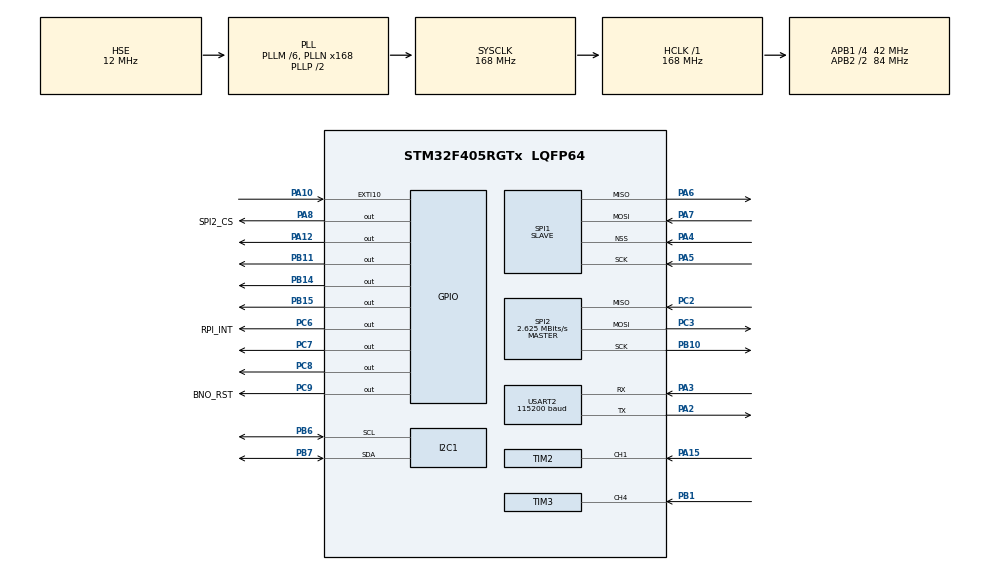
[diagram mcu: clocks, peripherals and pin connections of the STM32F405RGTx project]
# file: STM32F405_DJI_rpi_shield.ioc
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Dma.Request0=SPI1_RX
Dma.Request1=SPI1_TX
Dma.Request2=USART2_RX
Dma.SPI1_RX.0.Direction=DMA_PERIPH_TO_MEMORY
Dma.SPI1_RX.0.FIFOMode=DMA_FIFOMODE_DISABLE
Dma.SPI1_RX.0.Instance=DMA2_Stream0
Dma.SPI1_RX.0.MemDataAlignment=DMA_MDATAALIGN_BYTE
Dma.SPI1_RX.0.MemInc=DMA_MINC_ENABLE
Dma.SPI1_RX.0.Mode=DMA_NORMAL
Dma.SPI1_RX.0.PeriphDataAlignment=DMA_PDATAALIGN_BYTE
Dma.SPI1_RX.0.PeriphInc=DMA_PINC_DISABLE
Dma.SPI1_RX.0.Priority=DMA_PRIORITY_LOW
Dma.SPI1_TX.1.Direction=DMA_MEMORY_TO_PERIPH
Dma.SPI1_TX.1.FIFOMode=DMA_FIFOMODE_DISABLE
Dma.SPI1_TX.1.Instance=DMA2_Stream3
Dma.SPI1_TX.1.MemDataAlignment=DMA_MDATAALIGN_BYTE
Dma.SPI1_TX.1.MemInc=DMA_MINC_ENABLE
Dma.SPI1_TX.1.Mode=DMA_NORMAL
Dma.SPI1_TX.1.PeriphDataAlignment=DMA_PDATAALIGN_BYTE
Dma.SPI1_TX.1.PeriphInc=DMA_PINC_DISABLE
Dma.SPI1_TX.1.Priority=DMA_PRIORITY_LOW
Dma.USART2_RX.2.Direction=DMA_PERIPH_TO_MEMORY
Dma.USART2_RX.2.FIFOMode=DMA_FIFOMODE_DISABLE
Dma.USART2_RX.2.Instance=DMA1_Stream5
Dma.USART2_RX.2.MemDataAlignment=DMA_MDATAALIGN_BYTE
Dma.USART2_RX.2.MemInc=DMA_MINC_ENABLE
Dma.USART2_RX.2.Mode=DMA_CIRCULAR
Dma.USART2_RX.2.PeriphDataAlignment=DMA_PDATAALIGN_BYTE
Dma.USART2_RX.2.PeriphInc=DMA_PINC_DISABLE
Dma.USART2_RX.2.Priority=DMA_PRIORITY_LOW
Mcu.Family=STM32F4
Mcu.Name=STM32F405RGTx
Mcu.Package=LQFP64
NVIC.DMA1_Stream5_IRQn=true\:0\:0\:false\:false\:true\:false\:true
NVIC.DMA2_Stream0_IRQn=true\:0\:0\:false\:false\:true\:false\:true
NVIC.DMA2_Stream3_IRQn=true\:0\:0\:false\:false\:true\:false\:true
NVIC.EXTI15_10_IRQn=true\:0\:0\:false\:false\:true\:true\:true
NVIC.PriorityGroup=NVIC_PRIORITYGROUP_4
NVIC.SPI1_IRQn=true\:0\:0\:false\:false\:true\:true\:true
NVIC.TIM2_IRQn=true\:1\:0\:true\:false\:true\:true\:true
NVIC.TIM3_IRQn=true\:1\:0\:true\:false\:true\:true\:true
PA10.Signal=GPXTI10
PA12.Signal=GPIO_Output
PA13.Mode=Serial_Wire
PA13.Signal=SYS_JTMS-SWDIO
PA14.Mode=Serial_Wire
PA14.Signal=SYS_JTCK-SWCLK
PA15.Signal=S_TIM2_CH1_ETR
PA2.Mode=Asynchronous
PA2.Signal=USART2_TX
PA3.Mode=Asynchronous
PA3.Signal=USART2_RX
PA4.GPIO_PuPd=GPIO_PULLUP
PA4.Mode=NSS_Signal_Hard_Input
PA4.Signal=SPI1_NSS
PA5.GPIO_PuPd=GPIO_PULLDOWN
PA5.Mode=Full_Duplex_Slave
PA5.Signal=SPI1_SCK
PA6.GPIO_PuPd=GPIO_PULLDOWN
PA6.Mode=Full_Duplex_Slave
PA6.Signal=SPI1_MISO
PA7.GPIO_PuPd=GPIO_PULLDOWN
PA7.Mode=Full_Duplex_Slave
PA7.Signal=SPI1_MOSI
PA8.GPIO_Label=SPI2_CS
PA8.GPIO_Speed=GPIO_SPEED_FREQ_VERY_HIGH
PA8.PinState=GPIO_PIN_SET
PA8.Signal=GPIO_Output
PB1.Signal=S_TIM3_CH4
PB10.Mode=Full_Duplex_Master
PB10.Signal=SPI2_SCK
PB11.Signal=GPIO_Output
PB14.Signal=GPIO_Output
PB15.GPIO_PuPd=GPIO_PULLDOWN
PB15.GPIO_Speed=GPIO_SPEED_FREQ_VERY_HIGH
PB15.Signal=GPIO_Output
PB6.GPIO_Speed=GPIO_SPEED_FREQ_VERY_HIGH
PB6.Mode=I2C
PB6.Signal=I2C1_SCL
PB7.GPIO_Speed=GPIO_SPEED_FREQ_VERY_HIGH
PB7.Mode=I2C
PB7.Signal=I2C1_SDA
PC2.Mode=Full_Duplex_Master
PC2.Signal=SPI2_MISO
PC3.Mode=Full_Duplex_Master
PC3.Signal=SPI2_MOSI
PC6.GPIO_Label=RPI_INT
PC6.GPIO_PuPd=GPIO_PULLDOWN
PC6.Signal=GPIO_Output
PC7.GPIO_Speed=GPIO_SPEED_FREQ_HIGH
PC7.PinState=GPIO_PIN_SET
PC7.Signal=GPIO_Output
PC8.Signal=GPIO_Output
PC9.GPIO_Label=BNO_RST
PC9.GPIO_Speed=GPIO_SPEED_FREQ_MEDIUM
PC9.PinState=GPIO_PIN_SET
PC9.Signal=GPIO_Output
PH0-OSC_IN.Mode=HSE-External-Oscillator
PH0-OSC_IN.Signal=RCC_OSC_IN
PH1-OSC_OUT.Mode=HSE-External-Oscillator
PH1-OSC_OUT.Signal=RCC_OSC_OUT
ProjectManager.HeapSize=0x2000
ProjectManager.StackSize=0x4000
ProjectManager.TargetToolchain=STM32CubeIDE
RCC.48MHZClocksFreq_Value=84000000
RCC.AHBFreq_Value=168000000
RCC.APB1CLKDivider=RCC_HCLK_DIV4
RCC.APB1Freq_Value=42000000
RCC.APB1TimFreq_Value=84000000
RCC.APB2CLKDivider=RCC_HCLK_DIV2
RCC.APB2Freq_Value=84000000
RCC.APB2TimFreq_Value=168000000
RCC.CortexFreq_Value=168000000
RCC.HCLKFreq_Value=168000000
RCC.HSE_VALUE=12000000
RCC.HSI_VALUE=16000000
RCC.LSE_VALUE=32768
RCC.PLLM=6
RCC.PLLN=168
RCC.PLLSourceVirtual=RCC_PLLSOURCE_HSE
RCC.SYSCLKFreq_VALUE=168000000
RCC.SYSCLKSource=RCC_SYSCLKSOURCE_PLLCLK
RCC.VCOOutputFreq_Value=336000000
SH.S_TIM2_CH1_ETR.0=TIM2_CH1,Input_Capture1_from_TI1
SH.S_TIM3_CH4.0=TIM3_CH4,Input_Capture4_from_TI4
SPI1.Direction=SPI_DIRECTION_2LINES
SPI1.Mode=SPI_MODE_SLAVE
SPI1.VirtualNSS=VM_NSSHARD
SPI1.VirtualType=VM_SLAVE
SPI2.BaudRatePrescaler=SPI_BAUDRATEPRESCALER_16
SPI2.CLKPhase=SPI_PHASE_2EDGE
SPI2.CLKPolarity=SPI_POLARITY_HIGH
SPI2.CalculateBaudRate=2.625 MBits/s
SPI2.Direction=SPI_DIRECTION_2LINES
SPI2.Mode=SPI_MODE_MASTER
SPI2.VirtualType=VM_MASTER
TIM2.Channel-Input_Capture1_from_TI1=TIM_CHANNEL_1
TIM2.ICPolarity_CH1=TIM_INPUTCHANNELPOLARITY_BOTHEDGE
TIM2.Prescaler=4
TIM3.AutoReloadPreload=TIM_AUTORELOAD_PRELOAD_ENABLE
TIM3.Channel-Input_Capture4_from_TI4=TIM_CHANNEL_4
TIM3.ICPolarity_CH4=TIM_INPUTCHANNELPOLARITY_BOTHEDGE
TIM3.Prescaler=4
USART2.BaudRate=115200
USART2.VirtualMode=VM_ASYNC
VP_TIM2_VS_ClockSourceINT.Mode=Internal
board=custom

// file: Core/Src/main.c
/* USER CODE BEGIN Header */
/**
  ******************************************************************************
  * @file           : main.c
  * @brief          : Main program body
  ******************************************************************************
  * @attention
  *
  * <h2><center>&copy; Copyright (c) 2020 STMicroelectronics.
  * All rights reserved.</center></h2>
  *
  * This software component is licensed by ST under BSD 3-Clause license,
  * the "License"; You may not use this file except in compliance with the
  * License. You may obtain a copy of the License at:
  *                        opensource.org/licenses/BSD-3-Clause
  *
  ******************************************************************************
  */
/* USER CODE END Header */
#include "main.h"
#include "dma.h"
#include "i2c.h"
#include "spi.h"
#include "tim.h"
#include "usart.h"
#include "gpio.h"

/* USER CODE BEGIN Includes */
#include "bno080.h"
//#include "Quaternion.h"
#include "string.h"

#include "ubx_gnss.h"

#include "TR_One_HAL.h"

/* USER CODE END Includes */

/* USER CODE BEGIN PTD */

// TerraBee One Sensor
TRONE_Str sens[2];
TERAONE_Result res = 0;

/* USER CODE END PTD */

/* USER CODE BEGIN PV */
typedef struct stm_rpi{
	int16_t tof_sens[4];
	int16_t bno_sens;
	CGNSS gnss_sensor;
	uint8_t pwm_val;
}stm_rpi;

stm_rpi spi_data;
uint32_t pack_sz;
//stm_rpi spi_data = {.tof_sens[0] = 500, .tof_sens[1] = 600, .tof_sens[2] = 700, .tof_sens[3] = 800, .rtk_sens = 100};

uint8_t pin_state = 0; //for testing only, delete after

__IO uint32_t uwDutyCycle1 = 0;
__IO uint16_t uwDutyCycle2 = 0;
__IO uint32_t uwDutyCyclePre1 = 0;
__IO uint16_t uwDutyCyclePre2 = 0;
__IO uint32_t uwDutyCycleCur1 = 0;
__IO uint16_t uwDutyCycleCur2 = 0;

/* USER CODE END PV */

void SystemClock_Config(void);

/* USER CODE BEGIN 0 */
void HAL_SPI_TxCpltCallback (SPI_HandleTypeDef *hspi){
void HAL_UART_RxHalfCpltCallback(UART_HandleTypeDef *huart);
void HAL_UART_ErrorCallback(UART_HandleTypeDef *huart);
void HAL_UART_AbortCpltCallback(UART_HandleTypeDef *huart);
}
/* USER CODE END 0 */

int main(void)
{

  /* MCU Configuration--------------------------------------------------------*/

  /* Reset of all peripherals, Initializes the Flash interface and the Systick. */
  HAL_Init();

  /* Configure the system clock */
  SystemClock_Config();

  /* USER CODE BEGIN SysInit */
  HAL_Delay(5000);
  /* USER CODE END SysInit */

  /* Initialize all configured peripherals */
  MX_GPIO_Init();
  MX_DMA_Init();
  MX_I2C1_Init();
  MX_SPI2_Init();
  MX_SPI1_Init();
  MX_USART2_UART_Init();
  MX_TIM2_Init();
  MX_TIM3_Init();
  /* USER CODE BEGIN 2 */

  /* ODKOMENTIRAJ
  bno080_Initialization();  // READ sensor in external interrupt  - void EXTI9_5_IRQHandler(void)
  bno080_enableRotationVector(19000); //enable rotation vector at 200Hz
  HAL_Delay(20);
  bno080_start_IT();
  ODKOMENTIRAJ */

  // RTK
  //sensorRTK = copy_struct(); // Tukaj se nahajajo vsi podatki
  HAL_UART_Receive_DMA(&huart2, &spi_data.gnss_sensor.rx_byte, 1);

  HAL_Delay(5000);

  /* TerraBeeOne */
  sens[0].i2cHandle = &hi2c1;
  sens[0].Address = 0x40 << 1;  // default 0x30 << 1;
  res = TrOne_WhoAmI(&sens[0]);

  // Capture PWM Duty Cycle
  if(HAL_TIM_IC_Start_IT(&htim2, TIM_CHANNEL_1) != HAL_OK)
  {
	  //Error_Handler();
  }

  if(HAL_TIM_IC_Start_IT(&htim3, TIM_CHANNEL_4) != HAL_OK)
  {
	  //Error_Handler();
  }

  pack_sz = sizeof(spi_data);
  /* USER CODE END 2 */

  /* Infinite loop */
  /* USER CODE BEGIN WHILE */
  while (1)
  {
	 TrOne_ReadDist(&sens[0]);
	 spi_data.tof_sens[0] = sens[0].distance;
	 spi_data.gnss_sensor.vel.velocity = sqrt (spi_data.gnss_sensor.vel.N*spi_data.gnss_sensor.vel.N + spi_data.gnss_sensor.vel.E*spi_data.gnss_sensor.vel.E + spi_data.gnss_sensor.vel.E*spi_data.gnss_sensor.vel.E);

	 //spi_data.gnss_sensor.vel.velocity = sqrt (spi_data.gnss_sensor.vel.N*spi_data.gnss_sensor.vel.N + spi_data.gnss_sensor.vel.E*spi_data.gnss_sensor.vel.E + spi_data.gnss_sensor.vel.E*spi_data.gnss_sensor.vel.E);

	 HAL_SPI_Transmit_DMA(&hspi1, (uint8_t *)&spi_data, pack_sz);

	 HAL_GPIO_WritePin(RPI_INT_GPIO_Port, RPI_INT_Pin, 1);
	 HAL_Delay(50);
	 HAL_GPIO_WritePin(RPI_INT_GPIO_Port, RPI_INT_Pin, 0);
	 HAL_Delay(50);

	 //pin_state = HAL_GPIO_ReadPin (RPI_INT_GPIO_Port, RPI_INT_Pin);

	 spi_data.bno_sens += 3;
	 if (spi_data.bno_sens > 50) {spi_data.bno_sens = -50;}

    /* USER CODE END WHILE */

  }
}

void SystemClock_Config(void)
{
  RCC_OscInitTypeDef RCC_OscInitStruct = {0};
  RCC_ClkInitTypeDef RCC_ClkInitStruct = {0};

  /** Configure the main internal regulator output voltage
  */
  __HAL_RCC_PWR_CLK_ENABLE();
  __HAL_PWR_VOLTAGESCALING_CONFIG(PWR_REGULATOR_VOLTAGE_SCALE1);
  /** Initializes the RCC Oscillators according to the specified parameters
  * in the RCC_OscInitTypeDef structure.
  */
  RCC_OscInitStruct.OscillatorType = RCC_OSCILLATORTYPE_HSE;
  RCC_OscInitStruct.HSEState = RCC_HSE_ON;
  RCC_OscInitStruct.PLL.PLLState = RCC_PLL_ON;
  RCC_OscInitStruct.PLL.PLLSource = RCC_PLLSOURCE_HSE;
  RCC_OscInitStruct.PLL.PLLM = 6;
  RCC_OscInitStruct.PLL.PLLN = 168;
  RCC_OscInitStruct.PLL.PLLP = RCC_PLLP_DIV2;
  RCC_OscInitStruct.PLL.PLLQ = 4;
  if (HAL_RCC_OscConfig(&RCC_OscInitStruct) != HAL_OK)
  {
    Error_Handler();
  }
  /** Initializes the CPU, AHB and APB buses clocks
  */
  RCC_ClkInitStruct.ClockType = RCC_CLOCKTYPE_HCLK|RCC_CLOCKTYPE_SYSCLK
                              |RCC_CLOCKTYPE_PCLK1|RCC_CLOCKTYPE_PCLK2;
  RCC_ClkInitStruct.SYSCLKSource = RCC_SYSCLKSOURCE_PLLCLK;
  RCC_ClkInitStruct.AHBCLKDivider = RCC_SYSCLK_DIV1;
  RCC_ClkInitStruct.APB1CLKDivider = RCC_HCLK_DIV4;
  RCC_ClkInitStruct.APB2CLKDivider = RCC_HCLK_DIV2;

  if (HAL_RCC_ClockConfig(&RCC_ClkInitStruct, FLASH_LATENCY_5) != HAL_OK)
  {
    Error_Handler();
  }
}

/* USER CODE BEGIN 4 */

void HAL_UART_RxCpltCallback(UART_HandleTypeDef *huart)
{
	if(huart == &huart2)		//GNSS
	{
		ubx_handleGNSS(&spi_data.gnss_sensor);
	}
}

/**
  * @brief  Input Capture callback in non blocking mode
  * @param  htim: TIM IC handle
  * @retval None
  */
void HAL_TIM_IC_CaptureCallback(TIM_HandleTypeDef *htim)
{

  if (htim->Channel == HAL_TIM_ACTIVE_CHANNEL_1)
  {
	  uwDutyCycleCur1 = HAL_TIM_ReadCapturedValue(htim, TIM_CHANNEL_1);
	  uwDutyCycle1 = uwDutyCycleCur1 - uwDutyCyclePre1;
	  uwDutyCyclePre1 = uwDutyCycleCur1;

	  // 16800 - Number of counts for 1ms (OFF), 33600 Number of counts for 2ms (ON)
	  if(uwDutyCycle1 == 33600){
		  spi_data.pwm_val |= 0x02;
	  }else if(uwDutyCycle1 == 16800){
		  spi_data.pwm_val &= 0xFD;
	  }
  }else if(htim->Channel == HAL_TIM_ACTIVE_CHANNEL_4){
	  uwDutyCycleCur2 = HAL_TIM_ReadCapturedValue(htim, TIM_CHANNEL_4);
	  uwDutyCycle2 = uwDutyCycleCur2 - uwDutyCyclePre2;
	  uwDutyCyclePre2 = uwDutyCycleCur2;
	  if(uwDutyCycle2 == 33600){
		  spi_data.pwm_val |= 0x01;
	  }else if(uwDutyCycle2 == 16800){
		  spi_data.pwm_val &= 0xFE;
	  }
  }

}

/* USER CODE END 4 */

void Error_Handler(void)
{
  /* USER CODE BEGIN Error_Handler_Debug */
  /* User can add his own implementation to report the HAL error return state */
  NVIC_SystemReset();
  /* USER CODE END Error_Handler_Debug */
}

/************************ (C) COPYRIGHT STMicroelectronics *****END OF FILE****/
